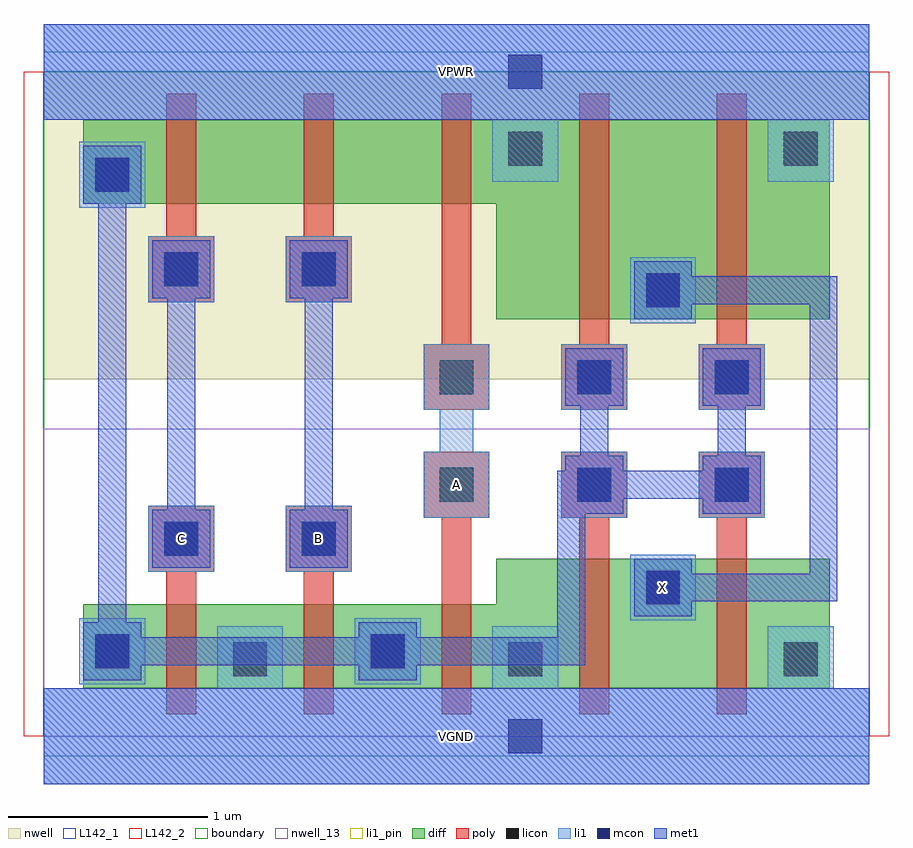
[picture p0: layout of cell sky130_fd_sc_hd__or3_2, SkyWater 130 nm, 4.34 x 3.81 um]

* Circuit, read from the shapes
.subckt sky130_fd_sc_hd__or3_2 A B C VGND VPWR X
XM1 VGND C n1 VSUBS sky130_fd_pr__nfet_01v8 w=0.42 l=0.15
XM2 n1 B VGND VSUBS sky130_fd_pr__nfet_01v8 w=0.42 l=0.15
XM3 VGND A n1 VSUBS sky130_fd_pr__nfet_01v8 w=0.42 l=0.15
XM4 X n1 VGND VSUBS sky130_fd_pr__nfet_01v8 w=0.65 l=0.15 m=2
XM5 n2 C n1 n3 sky130_fd_pr__pfet_01v8 w=0.42 l=0.15
XM6 n4 B n2 n3 sky130_fd_pr__pfet_01v8 w=0.42 l=0.15
XM7 VPWR A n4 n3 sky130_fd_pr__pfet_01v8 w=0.42 l=0.15
XM8 X n1 VPWR n3 sky130_fd_pr__pfet_01v8 w=1 l=0.15 m=2
.ends

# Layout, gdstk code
import gdstk
lib = gdstk.Library(unit=1e-6, precision=1e-09)
def R(c, l, rs):  # rectangles x0, y0, x1, y1
    for r in rs: c.add(gdstk.rectangle(r[:2], r[2:], *l))
def A(c, l, x, y, w, h, nx, ny, dx, dy):  # array of equal rectangles
    R(c, l, [(x+i*dx, y+j*dy, x+i*dx+w, y+j*dy+h) for i in range(nx) for j in range(ny)])
def P(c, l, *ps):  # polygons
    for p in ps: c.add(gdstk.Polygon(p, *l))
nwell_13 = (64, 13)
nwell = (64, 20)
diff = (65, 20)
poly = (66, 20)
licon = (66, 44)
li1_pin = (67, 16)
li1 = (67, 20)
mcon = (67, 44)
met1 = (68, 20)
L142_1 = (142, 1)
L142_2 = (142, 2)
boundary = (235, 4)

sky130_fd_sc_hd__or3_2 = lib.new_cell('sky130_fd_sc_hd__or3_2')
R(sky130_fd_sc_hd__or3_2, nwell_13, [(0,0,4.14,1.54)])
R(sky130_fd_sc_hd__or3_2, nwell, [(0,1.79,4.14,3.33)])
R(sky130_fd_sc_hd__or3_2, diff, [(0.2,0.24,0.615,0.66), (0.615,0.24,1.305,0.66), (1.305,0.24,1.995,0.66), (2.685,0.24,3.375,0.89), (3.375,0.24,3.94,0.89), (2.685,2.09,3.375,3.09), (3.375,2.09,3.94,3.09), (0.2,2.67,0.615,3.09), (0.615,2.67,1.305,3.09), (1.305,2.67,1.995,3.09)])
P(sky130_fd_sc_hd__or3_2, diff, [(0.2,0.24),(0.2,0.66),(2.27,0.66),(2.27,0.89),(3.94,0.89),(3.94,0.24)],
  [(1.995,0.24),(1.995,0.66),(2.27,0.66),(2.27,0.89),(2.685,0.89),(2.685,0.24)],
  [(2.27,2.09),(2.27,2.67),(0.2,2.67),(0.2,3.09),(3.94,3.09),(3.94,2.09)],
  [(2.27,2.09),(2.27,2.67),(1.995,2.67),(1.995,3.09),(2.685,3.09),(2.685,2.09)])
P(sky130_fd_sc_hd__or3_2, poly, [(1.305,0.11),(1.305,0.825),(1.215,0.825),(1.215,1.155),(1.545,1.155),(1.545,0.825),(1.455,0.825),(1.455,0.11)],
  [(1.215,2.175),(1.215,2.505),(1.305,2.505),(1.305,3.22),(1.455,3.22),(1.455,2.505),(1.545,2.505),(1.545,2.175)],
  [(2.685,0.11),(2.685,1.095),(2.595,1.095),(2.595,1.425),(2.925,1.425),(2.925,1.095),(2.835,1.095),(2.835,0.11)],
  [(3.375,0.11),(3.375,1.095),(3.285,1.095),(3.285,1.425),(3.615,1.425),(3.615,1.095),(3.525,1.095),(3.525,0.11)],
  [(2.595,1.635),(2.595,1.965),(2.685,1.965),(2.685,3.22),(2.835,3.22),(2.835,1.965),(2.925,1.965),(2.925,1.635)],
  [(3.285,1.635),(3.285,1.965),(3.375,1.965),(3.375,3.22),(3.525,3.22),(3.525,1.965),(3.615,1.965),(3.615,1.635)],
  [(0.615,0.11),(0.615,0.825),(0.525,0.825),(0.525,1.155),(0.855,1.155),(0.855,0.825),(0.765,0.825),(0.765,0.11)],
  [(0.525,2.175),(0.525,2.505),(0.615,2.505),(0.615,3.22),(0.765,3.22),(0.765,2.505),(0.855,2.505),(0.855,2.175)],
  [(1.995,0.11),(1.995,1.095),(1.905,1.095),(1.905,1.425),(2.235,1.425),(2.235,1.095),(2.145,1.095),(2.145,0.11)],
  [(1.905,1.635),(1.905,1.965),(1.995,1.965),(1.995,3.22),(2.145,3.22),(2.145,1.965),(2.235,1.965),(2.235,1.635)])
A(sky130_fd_sc_hd__or3_2, licon, 0.95, 0.3, 0.17, 0.17, 3, 1, 1.38, 0)
A(sky130_fd_sc_hd__or3_2, licon, 1.985, 1.175, 0.17, 0.17, 3, 2, 0.69, 0.54)
R(sky130_fd_sc_hd__or3_2, licon, [(0.26,0.34,0.43,0.51), (1.64,0.34,1.81,0.51), (3.02,0.66,3.19,0.83), (0.605,0.905,0.775,1.075), (1.295,0.905,1.465,1.075), (3.02,2.15,3.19,2.32), (0.605,2.255,0.775,2.425), (1.295,2.255,1.465,2.425), (0.26,2.73,0.43,2.9), (2.33,2.86,2.5,3.03), (3.71,2.86,3.88,3.03)])
R(sky130_fd_sc_hd__or3_2, li1_pin, [(0,-0.24,4.14,0.24), (2.94,0.58,3.27,0.91), (0.525,0.825,0.855,1.155), (1.215,0.825,1.545,1.155), (0,3.09,4.14,3.57)])
P(sky130_fd_sc_hd__or3_2, li1_pin, [(1.905,1.095),(1.905,1.425),(1.985,1.425),(1.985,1.635),(1.905,1.635),(1.905,1.965),(2.235,1.965),(2.235,1.635),(2.155,1.635),(2.155,1.425),(2.235,1.425),(2.235,1.095)])
R(sky130_fd_sc_hd__or3_2, li1, [(0.18,0.26,0.51,0.59), (1.56,0.26,1.89,0.59), (2.94,0.58,3.27,0.91), (0.525,0.825,0.855,1.155), (1.215,0.825,1.545,1.155), (2.595,1.095,2.925,1.425), (3.285,1.095,3.615,1.425), (2.595,1.635,2.925,1.965), (3.285,1.635,3.615,1.965), (2.94,2.07,3.27,2.4), (0.525,2.175,0.855,2.505), (1.215,2.175,1.545,2.505), (0.18,2.65,0.51,2.98)])
P(sky130_fd_sc_hd__or3_2, li1, [(2.25,2.78),(2.25,3.09),(0,3.09),(0,3.57),(4.14,3.57),(4.14,3.09),(3.96,3.09),(3.96,2.78),(3.63,2.78),(3.63,3.09),(2.58,3.09),(2.58,2.78)],
  [(0,-0.24),(0,0.24),(0.87,0.24),(0.87,0.55),(1.2,0.55),(1.2,0.24),(2.25,0.24),(2.25,0.55),(2.58,0.55),(2.58,0.24),(3.63,0.24),(3.63,0.55),(3.96,0.55),(3.96,0.24),(4.14,0.24),(4.14,-0.24)],
  [(1.905,1.095),(1.905,1.425),(1.985,1.425),(1.985,1.635),(1.905,1.635),(1.905,1.965),(2.235,1.965),(2.235,1.635),(2.155,1.635),(2.155,1.425),(2.235,1.425),(2.235,1.095)])
R(sky130_fd_sc_hd__or3_2, mcon, [(2.33,-0.085,2.5,0.085), (0.26,0.34,0.43,0.51), (1.64,0.34,1.81,0.51), (3.02,0.66,3.19,0.83), (0.605,0.905,0.775,1.075), (1.295,0.905,1.465,1.075), (2.675,1.175,2.845,1.345), (3.365,1.175,3.535,1.345), (2.675,1.715,2.845,1.885), (3.365,1.715,3.535,1.885), (3.02,2.15,3.19,2.32), (0.605,2.255,0.775,2.425), (1.295,2.255,1.465,2.425), (0.26,2.73,0.43,2.9), (2.33,3.245,2.5,3.415)])
R(sky130_fd_sc_hd__or3_2, met1, [(0,-0.24,4.14,0.24), (0,3.09,4.14,3.57)])
P(sky130_fd_sc_hd__or3_2, met1, [(1.235,0.845),(1.235,1.135),(1.31,1.135),(1.31,2.195),(1.235,2.195),(1.235,2.485),(1.525,2.485),(1.525,2.195),(1.45,2.195),(1.45,1.135),(1.525,1.135),(1.525,0.845)],
  [(0.2,0.28),(0.2,0.57),(0.275,0.57),(0.275,2.67),(0.2,2.67),(0.2,2.96),(0.49,2.96),(0.49,2.67),(0.415,2.67),(0.415,0.57),(0.49,0.57),(0.49,0.495),(1.58,0.495),(1.58,0.57),(1.87,0.57),(1.87,0.495),(2.575,0.495),(2.575,1.33),(2.615,1.33),(2.615,1.405),(2.69,1.405),(2.69,1.655),(2.615,1.655),(2.615,1.945),(2.905,1.945),(2.905,1.655),(2.83,1.655),(2.83,1.405),(2.905,1.405),(2.905,1.33),(3.305,1.33),(3.305,1.405),(3.38,1.405),(3.38,1.655),(3.305,1.655),(3.305,1.945),(3.595,1.945),(3.595,1.655),(3.52,1.655),(3.52,1.405),(3.595,1.405),(3.595,1.115),(3.305,1.115),(3.305,1.19),(2.905,1.19),(2.905,1.115),(2.715,1.115),(2.715,0.355),(1.87,0.355),(1.87,0.28),(1.58,0.28),(1.58,0.355),(0.49,0.355),(0.49,0.28)],
  [(0.545,0.845),(0.545,1.135),(0.62,1.135),(0.62,2.195),(0.545,2.195),(0.545,2.485),(0.835,2.485),(0.835,2.195),(0.76,2.195),(0.76,1.135),(0.835,1.135),(0.835,0.845)],
  [(2.96,0.6),(2.96,0.89),(3.25,0.89),(3.25,0.815),(3.84,0.815),(3.84,2.165),(3.25,2.165),(3.25,2.09),(2.96,2.09),(2.96,2.38),(3.25,2.38),(3.25,2.305),(3.98,2.305),(3.98,0.675),(3.25,0.675),(3.25,0.6)])
R(sky130_fd_sc_hd__or3_2, L142_1, [(0,-0.1,4.14,0), (0,3.33,4.14,3.43)])
R(sky130_fd_sc_hd__or3_2, L142_2, [(-0.1,0,0,3.33), (4.14,0,4.24,3.33)])
R(sky130_fd_sc_hd__or3_2, boundary, [(0,0,4.14,3.33)])
sky130_fd_sc_hd__or3_2.add(gdstk.Label('X', (3.105,0.745), layer=67, texttype=5))
sky130_fd_sc_hd__or3_2.add(gdstk.Label('A', (2.07,1.26), layer=67, texttype=5))
sky130_fd_sc_hd__or3_2.add(gdstk.Label('C', (0.69,0.99), layer=67, texttype=5))
sky130_fd_sc_hd__or3_2.add(gdstk.Label('B', (1.38,0.99), layer=67, texttype=5))
sky130_fd_sc_hd__or3_2.add(gdstk.Label('VGND', (2.07,0), layer=67, texttype=5))
sky130_fd_sc_hd__or3_2.add(gdstk.Label('VPWR', (2.07,3.33), layer=67, texttype=5))
sky130_fd_sc_hd__or3_2.add(gdstk.Label('VGND', (2.07,0), layer=68, texttype=5))
sky130_fd_sc_hd__or3_2.add(gdstk.Label('VPWR', (2.07,3.33), layer=68, texttype=5))

lib.write_gds('sky130_fd_sc_hd__or3_2.gds')
